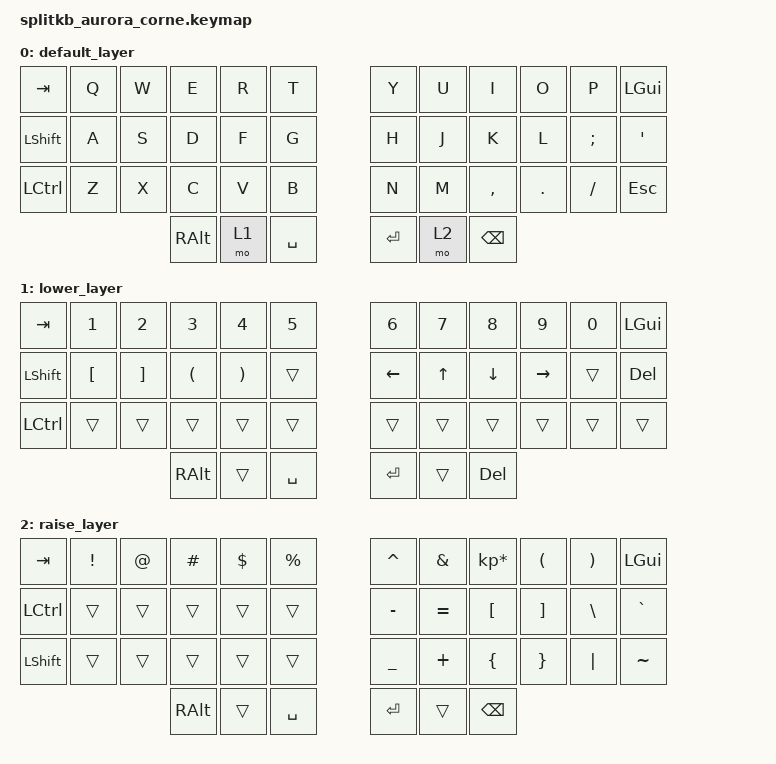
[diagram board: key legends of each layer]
/*
 * Copyright (c) 2020 The ZMK Contributors
 *
 * SPDX-License-Identifier: MIT
 */

#include <behaviors.dtsi>
#include <dt-bindings/zmk/keys.h>
#include <dt-bindings/zmk/bt.h>

/ {
        keymap {
                compatible = "zmk,keymap";

                default_layer {
// -----------------------------------------------------------------------------------------
// |  TAB |  Q  |  W  |  E  |  R  |  T  |   |  Y  |  U   |  I  |  O  |  P  | LGUI |
// | SHFT |  A  |  S  |  D  |  F  |  G  |   |  H  |  J   |  K  |  L  |  ;  |  '   |
// | CTRL |  Z  |  X  |  C  |  V  |  B  |   |  N  |  M   |  ,  |  .  |  /  | ESC  |
//                    | ALT | LWR | SPC |   | ENT | RSE  | BSPC|
                        bindings = <
   &kp TAB   &kp Q &kp W &kp E &kp R &kp T   &kp Y &kp U  &kp I     &kp O   &kp P    &kp LGUI
   &kp LSHFT &kp A &kp S &kp D &kp F &kp G   &kp H &kp J  &kp K     &kp L   &kp SEMI &kp SQT
   &kp LCTRL &kp Z &kp X &kp C &kp V &kp B   &kp N &kp M  &kp COMMA &kp DOT &kp FSLH &kp ESC
                  &kp RALT &mo 1 &kp SPACE   &kp RET &mo 2 &kp BSPC
                        >;
                };
                lower_layer {
// -----------------------------------------------------------------------------------------
// |  TAB |  1  |  2  |  3  |  4  |  5  |   |  6  |  7  |  8  |  9  |  0  | LGUI |
// | SHFT | [   |  ]  | (   |  )  |  :  |   | LFT | UP  | DWN | RGT |     | DEL  |
// | CTRL |     |     |     |     |     |   |     |     |     |     |     |      |
//                    | ALT |     | SPC |   | ENT |     | DEL |
                        bindings = <
   &kp TAB    &kp N1       &kp N2       &kp N3       &kp N4       &kp N5         &kp N6   &kp N7   &kp N8 &kp N9    &kp N0 &kp LGUI
   &kp LSHIFT &kp LBKT     &kp RBKT     &kp LPAR     &kp RPAR     &trans         &kp LEFT &kp UP &kp DOWN &kp RIGHT &trans &kp DEL 	
   &kp LCTRL  &trans       &trans       &trans       &trans       &trans         &trans   &trans   &trans &trans    &trans &trans
                                    &kp RALT     &trans       &kp SPACE          &kp RET  &trans   &kp DEL
                        >;
                };

                raise_layer {
// -----------------------------------------------------------------------------------------
// |  TAB |  !  |  @  |  #  |  $  |  %  |   |  ^  |  &  |  *  |  (  |  )  | LGUI |
// | CTRL |     |     |     |     |     |   |  -  |  =  |  [  |  ]  |  \  |  `   |
// | SHFT |     |     |     |     |     |   |  _  |  +  |  {  |  }  | "|" |  ~   |
//                    | ALT |     | SPC |   | ENT |     | BSPC |
                        bindings = <
   &kp  TAB  &kp EXCL &kp AT &kp HASH &kp DLLR &kp PRCNT   &kp CARET &kp AMPS  &kp KP_MULTIPLY &kp LPAR &kp RPAR &kp LGUI
   &kp LCTRL &trans   &trans &trans   &trans   &trans      &kp MINUS &kp EQUAL &kp LBKT        &kp RBKT &kp BSLH &kp GRAVE
   &kp LSHFT &trans   &trans &trans   &trans   &trans      &kp UNDER &kp PLUS  &kp LBRC        &kp RBRC &kp PIPE &kp TILDE
                             &kp RALT &trans   &kp SPACE   &kp RET   &trans    &kp BSPC
                        >;
                };
        };
};
